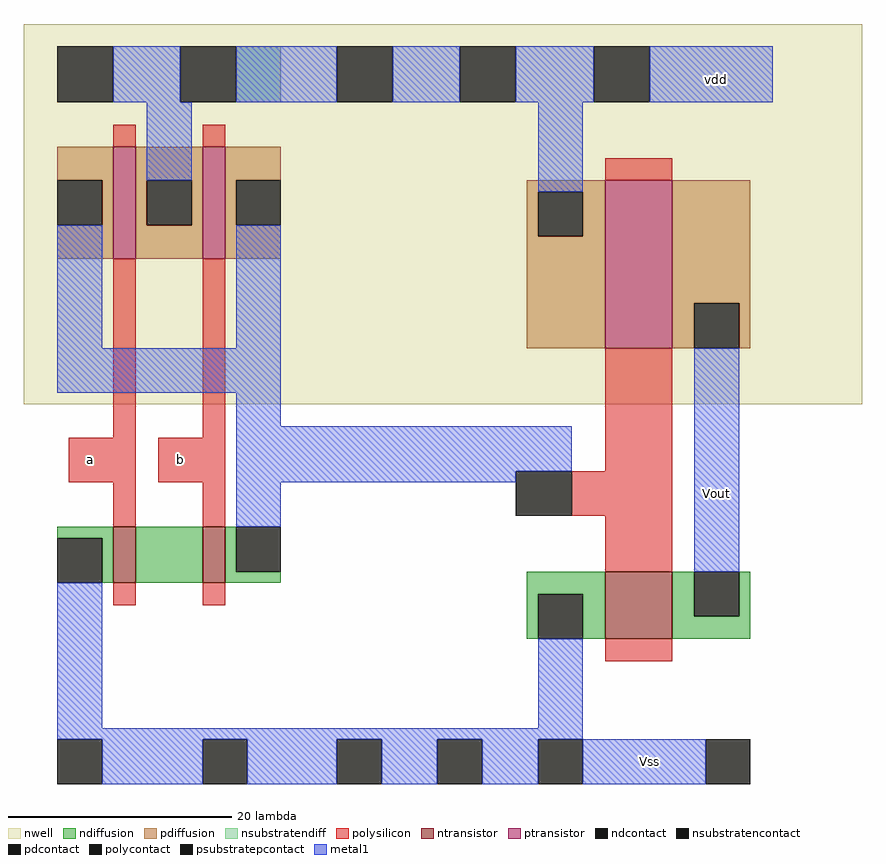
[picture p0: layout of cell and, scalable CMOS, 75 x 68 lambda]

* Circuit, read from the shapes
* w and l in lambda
.subckt and Vout Vss a b vdd
M1 n1 a Vss Vss nfet w=5 l=2
M2 n2 b n1 Vss nfet w=5 l=2
M3 Vout n2 Vss Vss nfet w=6 l=6
M4 vdd a n2 vdd pfet w=10 l=2
M5 n2 b vdd vdd pfet w=10 l=2
M6 Vout n2 vdd vdd pfet w=15 l=6
.ends

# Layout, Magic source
magic
tech scmos
<< nwell >>
rect -39 -1 36 33
<< polysilicon >>
rect -31 22 -29 24
rect -23 22 -21 24
rect 13 19 19 21
rect -31 -4 -29 12
rect -23 -4 -21 12
rect -35 -8 -29 -4
rect -27 -8 -21 -4
rect 13 -7 19 4
rect -31 -12 -29 -8
rect -23 -12 -21 -8
rect 10 -11 19 -7
rect 13 -16 19 -11
rect -31 -19 -29 -17
rect -23 -19 -21 -17
rect 13 -24 19 -22
<< ndiffusion >>
rect -36 -13 -31 -12
rect -32 -17 -31 -13
rect -29 -17 -23 -12
rect -21 -16 -20 -12
rect -21 -17 -16 -16
rect 6 -18 13 -16
rect 6 -22 7 -18
rect 11 -22 13 -18
rect 19 -20 21 -16
rect 25 -20 26 -16
rect 19 -22 26 -20
<< pdiffusion >>
rect -36 19 -31 22
rect -32 15 -31 19
rect -36 12 -31 15
rect -29 19 -23 22
rect -29 15 -28 19
rect -24 15 -23 19
rect -29 12 -23 15
rect -21 19 -16 22
rect -21 15 -20 19
rect -21 12 -16 15
rect 6 18 13 19
rect 6 14 7 18
rect 11 14 13 18
rect 6 4 13 14
rect 19 8 26 19
rect 19 4 21 8
rect 25 4 26 8
<< metal1 >>
rect -31 26 -25 31
rect -20 26 -11 31
rect -6 26 0 31
rect 5 26 12 31
rect 17 26 28 31
rect -28 19 -24 26
rect -36 4 -32 15
rect -20 4 -16 15
rect 7 18 11 26
rect -36 0 -16 4
rect -20 -3 -16 0
rect -20 -7 10 -3
rect -20 -8 5 -7
rect -20 -12 -16 -8
rect 21 -16 25 4
rect -36 -30 -32 -17
rect 7 -30 11 -22
rect -36 -31 11 -30
rect -32 -35 -23 -31
rect -19 -35 -11 -31
rect -7 -35 -2 -31
rect 2 -35 7 -31
rect 11 -35 22 -31
<< ntransistor >>
rect -31 -17 -29 -12
rect -23 -17 -21 -12
rect 13 -22 19 -16
<< ptransistor >>
rect -31 12 -29 22
rect -23 12 -21 22
rect 13 4 19 19
<< polycontact >>
rect 5 -11 10 -7
<< ndcontact >>
rect -36 -17 -32 -13
rect -20 -16 -16 -12
rect 7 -22 11 -18
rect 21 -20 25 -16
<< pdcontact >>
rect -36 15 -32 19
rect -28 15 -24 19
rect -20 15 -16 19
rect 7 14 11 18
rect 21 4 25 8
<< psubstratepcontact >>
rect -36 -35 -32 -31
rect -23 -35 -19 -31
rect -11 -35 -7 -31
rect -2 -35 2 -31
rect 7 -35 11 -31
rect 22 -35 26 -31
<< nsubstratencontact >>
rect -36 26 -31 31
rect -25 26 -20 31
rect -11 26 -6 31
rect 0 26 5 31
rect 12 26 17 31
<< nsubstratendiff >>
rect -20 26 -16 31
<< labels >>
rlabel polysilicon -33 -6 -33 -6 7 a
rlabel polysilicon -25 -6 -25 -6 7 b
rlabel metal1 23 -9 23 -9 1 Vout
rlabel metal1 17 -33 17 -33 1 Vss
rlabel metal1 23 28 23 28 1 vdd
<< end >>
